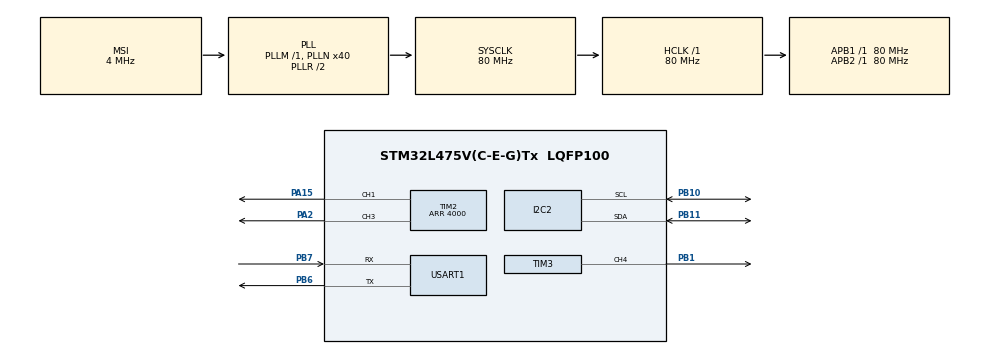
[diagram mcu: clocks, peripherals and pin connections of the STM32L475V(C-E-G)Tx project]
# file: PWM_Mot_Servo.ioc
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I2C2.Timing=0x10909CEC
Mcu.Family=STM32L4
Mcu.Name=STM32L475V(C-E-G)Tx
Mcu.Package=LQFP100
NVIC.PriorityGroup=NVIC_PRIORITYGROUP_4
PA15\ (JTDI).Signal=S_TIM2_CH1
PA2.Signal=S_TIM2_CH3
PB1.Signal=S_TIM3_CH4
PB10.Mode=I2C
PB10.Signal=I2C2_SCL
PB11.Mode=I2C
PB11.Signal=I2C2_SDA
PB6.Mode=Asynchronous
PB6.Signal=USART1_TX
PB7.Mode=Asynchronous
PB7.Signal=USART1_RX
ProjectManager.HeapSize=0x200
ProjectManager.StackSize=0x400
ProjectManager.TargetToolchain=STM32CubeIDE
RCC.AHBFreq_Value=80000000
RCC.APB1Freq_Value=80000000
RCC.APB1TimFreq_Value=80000000
RCC.APB2Freq_Value=80000000
RCC.APB2TimFreq_Value=80000000
RCC.CortexFreq_Value=80000000
RCC.HCLKFreq_Value=80000000
RCC.HSE_VALUE=8000000
RCC.HSI_VALUE=16000000
RCC.LSE_VALUE=32768
RCC.MSI_VALUE=4000000
RCC.PLLN=40
RCC.SYSCLKFreq_VALUE=80000000
RCC.SYSCLKSource=RCC_SYSCLKSOURCE_PLLCLK
RCC.VCOOutputFreq_Value=160000000
SH.S_TIM2_CH1.0=TIM2_CH1,PWM Generation1 CH1
SH.S_TIM2_CH3.0=TIM2_CH3,PWM Generation3 CH3
SH.S_TIM3_CH4.0=TIM3_CH4,PWM Generation4 CH4
TIM2.Channel-PWM\ Generation1\ CH1=TIM_CHANNEL_1
TIM2.Channel-PWM\ Generation3\ CH3=TIM_CHANNEL_3
TIM2.Period=4000
TIM3.Channel-PWM\ Generation4\ CH4=TIM_CHANNEL_4
TIM3.Period=20000
TIM3.Prescaler=79
TIM3.Pulse-PWM\ Generation4\ CH4=500
USART1.VirtualMode-Asynchronous=VM_ASYNC
board=custom

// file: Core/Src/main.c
/* USER CODE BEGIN Header */
/**
  ******************************************************************************
  * @file           : main.c
  * @brief          : Main program body
  ******************************************************************************
  * @attention
  *
  * <h2><center>&copy; Copyright (c) 2024 STMicroelectronics.
  * All rights reserved.</center></h2>
  *
  * This software component is licensed by ST under BSD 3-Clause license,
  * the "License"; You may not use this file except in compliance with the
  * License. You may obtain a copy of the License at:
  *                        opensource.org/licenses/BSD-3-Clause
  *
  ******************************************************************************
  */
/* USER CODE END Header */

#include "main.h"

I2C_HandleTypeDef hi2c2;

TIM_HandleTypeDef htim2;
TIM_HandleTypeDef htim3;

UART_HandleTypeDef huart1;

void SystemClock_Config(void);
static void MX_GPIO_Init(void);
static void MX_I2C2_Init(void);
static void MX_TIM2_Init(void);
static void MX_USART1_UART_Init(void);
static void MX_TIM3_Init(void);

/* USER CODE BEGIN 0 */
void setMotorSpeed (int16_t speed){
	if(speed <0){
		__HAL_TIM_SET_COMPARE(&htim2, TIM_CHANNEL_3, -speed);
		__HAL_TIM_SET_COMPARE(&htim2, TIM_CHANNEL_1, 0);
		HAL_Delay(200);
	}else{
		__HAL_TIM_SET_COMPARE(&htim2, TIM_CHANNEL_1, speed);
		__HAL_TIM_SET_COMPARE(&htim2, TIM_CHANNEL_3, 0);
		HAL_Delay(200);
	}

}

void initAccelerometer (void) {
	uint8_t buffer[1];
	buffer[0] = 0x40;
	HAL_I2C_Mem_Write(&hi2c2, 0xD4, 0x10, I2C_MEMADD_SIZE_8BIT, buffer, 1, 100);
}

int16_t readAccel (uint8_t axxis){
	uint8_t buffer[2];
	int16_t accel;
	uint16_t direccion = 0x28 + 2*axxis;
	HAL_I2C_Mem_Read(&hi2c2, 0xD4, direccion, I2C_MEMADD_SIZE_8BIT, buffer, 2, 100);
	return accel = ((int16_t)(buffer[1] << 8) | buffer[0]) * 0.061;
}

void setServoPos(float ang){
	float th = ((ang*200) / 18) + 500;
	__HAL_TIM_SET_COMPARE(&htim3, TIM_CHANNEL_4, th);
}

/* USER CODE END 0 */

int main(void)
{

  /* MCU Configuration--------------------------------------------------------*/

  /* Reset of all peripherals, Initializes the Flash interface and the Systick. */
  HAL_Init();

  /* Configure the system clock */
  SystemClock_Config();

  /* Initialize all configured peripherals */
  MX_GPIO_Init();
  MX_I2C2_Init();
  MX_TIM2_Init();
  MX_USART1_UART_Init();
  MX_TIM3_Init();
  /* USER CODE BEGIN 2 */
  HAL_TIM_PWM_Start(&htim2, TIM_CHANNEL_3);
  HAL_TIM_PWM_Start(&htim2, TIM_CHANNEL_1);
  HAL_TIM_PWM_Start(&htim3, TIM_CHANNEL_4);
  initAccelerometer();

  /* USER CODE END 2 */

  /* Infinite loop */
  /* USER CODE BEGIN WHILE */
  while (1)
  {
//	  int16_t th;

    /* USER CODE END WHILE */

    /* USER CODE BEGIN 3 */
/*
	  for (th=0; th < 4000; th+=100){
		__HAL_TIM_SET_COMPARE(&htim2, TIM_CHANNEL_1, th);
		HAL_Delay(200);
	  }
*/
	  //setMotorSpeed(-1000);
/*
	  for (th=0; th < 4000; th+=100){
		  setMotorSpeed(th);
		  HAL_Delay(200);
	  }
	  for (th=4000; th > 0; th-=100){
		  setMotorSpeed(th);
		  HAL_Delay(200);
	  }
	  for (th=0; th > -4000; th-=100){
		  setMotorSpeed(th);
		  HAL_Delay(200);
	  }
	  for (th=-4000; th < 0; th+=100){
		  setMotorSpeed(th);
		  HAL_Delay(200);
	  }
*/
	  float ejeY=1; //Eje Y = 1
	  float accelY = readAccel(ejeY);
	  setMotorSpeed(4*accelY);

	  float ejeX=0; //Eje X = 0
	  float accelX = readAccel(ejeX)+1000;
	  setServoPos(180*accelX/2000);
	  HAL_Delay(10);
/*
	  uint16_t servo;
	  for(servo=500; servo<2500; servo+=250){
		  __HAL_TIM_SET_COMPARE(&htim3, TIM_CHANNEL_4, servo);
		  HAL_Delay(500);
	  }
*/
/*
	  float servo;
	  for(servo=0; servo<180; servo+=10){
		  setServoPos(servo);
		  HAL_Delay(500);
	  }
*/

  }
  /* USER CODE END 3 */
}

void SystemClock_Config(void)
{
  RCC_OscInitTypeDef RCC_OscInitStruct = {0};
  RCC_ClkInitTypeDef RCC_ClkInitStruct = {0};
  RCC_PeriphCLKInitTypeDef PeriphClkInit = {0};

  /** Initializes the CPU, AHB and APB busses clocks
  */
  RCC_OscInitStruct.OscillatorType = RCC_OSCILLATORTYPE_MSI;
  RCC_OscInitStruct.MSIState = RCC_MSI_ON;
  RCC_OscInitStruct.MSICalibrationValue = 0;
  RCC_OscInitStruct.MSIClockRange = RCC_MSIRANGE_6;
  RCC_OscInitStruct.PLL.PLLState = RCC_PLL_ON;
  RCC_OscInitStruct.PLL.PLLSource = RCC_PLLSOURCE_MSI;
  RCC_OscInitStruct.PLL.PLLM = 1;
  RCC_OscInitStruct.PLL.PLLN = 40;
  RCC_OscInitStruct.PLL.PLLP = RCC_PLLP_DIV7;
  RCC_OscInitStruct.PLL.PLLQ = RCC_PLLQ_DIV2;
  RCC_OscInitStruct.PLL.PLLR = RCC_PLLR_DIV2;
  if (HAL_RCC_OscConfig(&RCC_OscInitStruct) != HAL_OK)
  {
    Error_Handler();
  }
  /** Initializes the CPU, AHB and APB busses clocks
  */
  RCC_ClkInitStruct.ClockType = RCC_CLOCKTYPE_HCLK|RCC_CLOCKTYPE_SYSCLK
                              |RCC_CLOCKTYPE_PCLK1|RCC_CLOCKTYPE_PCLK2;
  RCC_ClkInitStruct.SYSCLKSource = RCC_SYSCLKSOURCE_PLLCLK;
  RCC_ClkInitStruct.AHBCLKDivider = RCC_SYSCLK_DIV1;
  RCC_ClkInitStruct.APB1CLKDivider = RCC_HCLK_DIV1;
  RCC_ClkInitStruct.APB2CLKDivider = RCC_HCLK_DIV1;

  if (HAL_RCC_ClockConfig(&RCC_ClkInitStruct, FLASH_LATENCY_4) != HAL_OK)
  {
    Error_Handler();
  }
  PeriphClkInit.PeriphClockSelection = RCC_PERIPHCLK_USART1|RCC_PERIPHCLK_I2C2;
  PeriphClkInit.Usart1ClockSelection = RCC_USART1CLKSOURCE_PCLK2;
  PeriphClkInit.I2c2ClockSelection = RCC_I2C2CLKSOURCE_PCLK1;
  if (HAL_RCCEx_PeriphCLKConfig(&PeriphClkInit) != HAL_OK)
  {
    Error_Handler();
  }
  /** Configure the main internal regulator output voltage
  */
  if (HAL_PWREx_ControlVoltageScaling(PWR_REGULATOR_VOLTAGE_SCALE1) != HAL_OK)
  {
    Error_Handler();
  }
}

static void MX_I2C2_Init(void)
{

  hi2c2.Instance = I2C2;
  hi2c2.Init.Timing = 0x10909CEC;
  hi2c2.Init.OwnAddress1 = 0;
  hi2c2.Init.AddressingMode = I2C_ADDRESSINGMODE_7BIT;
  hi2c2.Init.DualAddressMode = I2C_DUALADDRESS_DISABLE;
  hi2c2.Init.OwnAddress2 = 0;
  hi2c2.Init.OwnAddress2Masks = I2C_OA2_NOMASK;
  hi2c2.Init.GeneralCallMode = I2C_GENERALCALL_DISABLE;
  hi2c2.Init.NoStretchMode = I2C_NOSTRETCH_DISABLE;
  if (HAL_I2C_Init(&hi2c2) != HAL_OK)
  {
    Error_Handler();
  }
  /** Configure Analogue filter
  */
  if (HAL_I2CEx_ConfigAnalogFilter(&hi2c2, I2C_ANALOGFILTER_ENABLE) != HAL_OK)
  {
    Error_Handler();
  }
  /** Configure Digital filter
  */
  if (HAL_I2CEx_ConfigDigitalFilter(&hi2c2, 0) != HAL_OK)
  {
    Error_Handler();
  }

}

static void MX_TIM2_Init(void)
{

  TIM_MasterConfigTypeDef sMasterConfig = {0};
  TIM_OC_InitTypeDef sConfigOC = {0};

  htim2.Instance = TIM2;
  htim2.Init.Prescaler = 0;
  htim2.Init.CounterMode = TIM_COUNTERMODE_UP;
  htim2.Init.Period = 4000;
  htim2.Init.ClockDivision = TIM_CLOCKDIVISION_DIV1;
  htim2.Init.AutoReloadPreload = TIM_AUTORELOAD_PRELOAD_DISABLE;
  if (HAL_TIM_PWM_Init(&htim2) != HAL_OK)
  {
    Error_Handler();
  }
  sMasterConfig.MasterOutputTrigger = TIM_TRGO_RESET;
  sMasterConfig.MasterSlaveMode = TIM_MASTERSLAVEMODE_DISABLE;
  if (HAL_TIMEx_MasterConfigSynchronization(&htim2, &sMasterConfig) != HAL_OK)
  {
    Error_Handler();
  }
  sConfigOC.OCMode = TIM_OCMODE_PWM1;
  sConfigOC.Pulse = 0;
  sConfigOC.OCPolarity = TIM_OCPOLARITY_HIGH;
  sConfigOC.OCFastMode = TIM_OCFAST_DISABLE;
  if (HAL_TIM_PWM_ConfigChannel(&htim2, &sConfigOC, TIM_CHANNEL_1) != HAL_OK)
  {
    Error_Handler();
  }
  if (HAL_TIM_PWM_ConfigChannel(&htim2, &sConfigOC, TIM_CHANNEL_3) != HAL_OK)
  {
    Error_Handler();
  }
  HAL_TIM_MspPostInit(&htim2);

}

static void MX_TIM3_Init(void)
{

  TIM_MasterConfigTypeDef sMasterConfig = {0};
  TIM_OC_InitTypeDef sConfigOC = {0};

  htim3.Instance = TIM3;
  htim3.Init.Prescaler = 79;
  htim3.Init.CounterMode = TIM_COUNTERMODE_UP;
  htim3.Init.Period = 20000;
  htim3.Init.ClockDivision = TIM_CLOCKDIVISION_DIV1;
  htim3.Init.AutoReloadPreload = TIM_AUTORELOAD_PRELOAD_DISABLE;
  if (HAL_TIM_PWM_Init(&htim3) != HAL_OK)
  {
    Error_Handler();
  }
  sMasterConfig.MasterOutputTrigger = TIM_TRGO_RESET;
  sMasterConfig.MasterSlaveMode = TIM_MASTERSLAVEMODE_DISABLE;
  if (HAL_TIMEx_MasterConfigSynchronization(&htim3, &sMasterConfig) != HAL_OK)
  {
    Error_Handler();
  }
  sConfigOC.OCMode = TIM_OCMODE_PWM1;
  sConfigOC.Pulse = 500;
  sConfigOC.OCPolarity = TIM_OCPOLARITY_HIGH;
  sConfigOC.OCFastMode = TIM_OCFAST_DISABLE;
  if (HAL_TIM_PWM_ConfigChannel(&htim3, &sConfigOC, TIM_CHANNEL_4) != HAL_OK)
  {
    Error_Handler();
  }
  HAL_TIM_MspPostInit(&htim3);

}

static void MX_USART1_UART_Init(void)
{

  huart1.Instance = USART1;
  huart1.Init.BaudRate = 115200;
  huart1.Init.WordLength = UART_WORDLENGTH_8B;
  huart1.Init.StopBits = UART_STOPBITS_1;
  huart1.Init.Parity = UART_PARITY_NONE;
  huart1.Init.Mode = UART_MODE_TX_RX;
  huart1.Init.HwFlowCtl = UART_HWCONTROL_NONE;
  huart1.Init.OverSampling = UART_OVERSAMPLING_16;
  huart1.Init.OneBitSampling = UART_ONE_BIT_SAMPLE_DISABLE;
  huart1.AdvancedInit.AdvFeatureInit = UART_ADVFEATURE_NO_INIT;
  if (HAL_UART_Init(&huart1) != HAL_OK)
  {
    Error_Handler();
  }

}

static void MX_GPIO_Init(void)
{

  /* GPIO Ports Clock Enable */
  __HAL_RCC_GPIOA_CLK_ENABLE();
  __HAL_RCC_GPIOB_CLK_ENABLE();

}

void Error_Handler(void)
{
}

/************************ (C) COPYRIGHT STMicroelectronics *****END OF FILE****/
